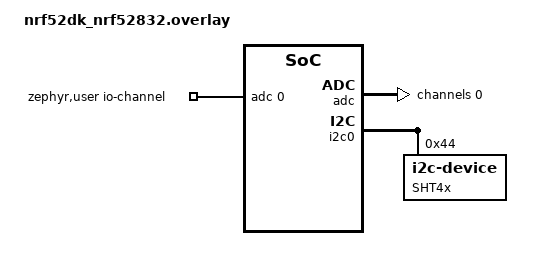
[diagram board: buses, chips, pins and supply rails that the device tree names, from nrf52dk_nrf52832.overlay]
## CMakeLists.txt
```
#
# Copyright (c) 2021 Nordic Semiconductor ASA
#
# SPDX-License-Identifier: LicenseRef-Nordic-5-Clause
#
cmake_minimum_required(VERSION 3.20.0)
find_package(Zephyr REQUIRED HINTS $ENV{ZEPHYR_BASE})
project(central_and_peripheral_hr1)

# # NORDIC SDK APP START
# target_sources(app PRIVATE
#   src/main.c
# )
# # NORDIC SDK APP END

FILE(GLOB app_sources src/*.c)
target_sources(app PRIVATE ${app_sources})
```

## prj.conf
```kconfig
#
# Copyright (c) 2018 Nordic Semiconductor
#
# SPDX-License-Identifier: LicenseRef-Nordic-5-Clause
#

# Logger module
CONFIG_LOG=y

# Button and LED library
CONFIG_DK_LIBRARY=y
CONFIG_DEBUG=y

# Bluetooth LE
CONFIG_BT=y
CONFIG_BT_PERIPHERAL=y
CONFIG_BT_PHY_UPDATE=y
CONFIG_BT_CENTRAL=y
CONFIG_BT_DEVICE_NAME="Concretex"

# For flash
CONFIG_STDOUT_CONSOLE=y
CONFIG_FLASH=y
CONFIG_FLASH_PAGE_LAYOUT=y
CONFIG_MPU_ALLOW_FLASH_WRITE=y
CONFIG_FCB=y
CONFIG_FLASH_MAP=y
CONFIG_SETTINGS=y
CONFIG_SETTINGS_FCB=y
CONFIG_SOC_FLASH_NRF_RADIO_SYNC_NONE=n

# For sensors
CONFIG_PWM=y
CONFIG_ADC=y
CONFIG_I2C=y



# Set global log level (0=none, 1=error, 2=warning, 3=info, 4=debug)
CONFIG_LOG_DEFAULT_LEVEL=2

CONFIG_CBPRINTF_FP_SUPPORT=y
CONFIG_HEAP_MEM_POOL_SIZE=2048
```

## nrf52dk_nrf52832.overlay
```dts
// To get started, press Ctrl+Space to bring up the completion menu and view the available nodes.

// You can also use the buttons in the sidebar to perform actions on nodes.
// Actions currently available include:

// * Enabling / disabling the node
// * Adding the bus to a bus
// * Removing the node
// * Connecting ADC channels

// For more help, browse the DeviceTree documentation at https://docs.zephyrproject.org/latest/guides/dts/index.html
// You can also visit the nRF DeviceTree extension documentation at https://nrfconnect.github.io/vscode-nrf-connect/devicetree/nrfdevicetree.html

// sensors
&pwm0_default {
	group1 {
		psels = <NRF_PSEL(PWM_OUT0, 0, 3)>;
		nordic,invert;
	};
};


/ {
	zephyr,user {
		io-channels = <&adc 0>;
	};
};

&adc {
	#address-cells = <1>;
	#size-cells = <0>;
	status = "okay";
	channel@0 {
		reg = <0>;
		zephyr,gain = "ADC_GAIN_1_6";
		zephyr,reference = "ADC_REF_INTERNAL";
		zephyr,acquisition-time = <ADC_ACQ_TIME_DEFAULT>;
		zephyr,input-positive = <NRF_SAADC_AIN0>; /* P0.02 for nRF52xx, P0.04 for nRF53xx */
		zephyr,resolution = <12>;
	};
};

&i2c0 {
    mysensor: mysensor@44{
        compatible = "i2c-device";
        reg = < 0x44 >;
        label = "SHT4x";
    };
};

// flash

&slot0_partition {
	label = "code";
	reg = <0xc000 0x5d000>;
};

&storage_partition {
	reg = <0x69000 0x12000>;
};
```

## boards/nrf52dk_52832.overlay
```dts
&pwm_led0 {
	pwms = <&pwm0 18>;
};

&pwm0 {
	ch0-pin = <18>;
};
```

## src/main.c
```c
#include "inc/ble.h"
#include "inc/flash.h"
#include "inc/sensors.h"
#include "inc/power.h"

int main(void) {

    init_flash();
    init_sensors();
    ble_init();

    ble_start();

    printk("Bluetooth initialized and advertising\n");

    uint8_t nul = 0;
    uint8_t buffer[BUFFER_SIZE] = {0};

    // this is just initialization
    write_entry(buffer, &nul, &nul);

    while (1) {
      struct measurements measure;

      // power_on_nrf52();
      measure = measurement_cycle();

      serialize_measurements(measure, buffer);
      write_entry(buffer, NULL, NULL);


      // power_off_nrf52();
      printk("bye  temperature is: %.1f  and voltage is:  %d mV  \n", measure.temperature, measure.mV);
      k_sleep(K_MINUTES(1));

    }
}
```

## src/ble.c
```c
#include "inc/ble.h"
#include "inc/flash.h"


static struct ble_request request;
static struct bt_conn *my_conn = NULL;


// GATT Attribute Table
BT_GATT_SERVICE_DEFINE(historical_svc,
    BT_GATT_PRIMARY_SERVICE(HISTORICAL_DATA_UUID),
    BT_GATT_CHARACTERISTIC(HISTORICAL_DATA_UUID, BT_GATT_CHRC_READ, BT_GATT_PERM_READ, read_historical_data, NULL, NULL),
    BT_GATT_CHARACTERISTIC(RANGE_UUID, BT_GATT_CHRC_WRITE, BT_GATT_PERM_WRITE, NULL, write_range, &request),
    BT_GATT_CHARACTERISTIC(CURRENT_PAGE_UUID, BT_GATT_CHRC_READ, BT_GATT_PERM_READ, read_page_data, NULL, NULL),
    BT_GATT_CHARACTERISTIC(CURRENT_LINE_UUID, BT_GATT_CHRC_READ, BT_GATT_PERM_READ, read_line_data, NULL, NULL),
);


ssize_t read_page_data(struct bt_conn *conn, const struct bt_gatt_attr *attr, void *buf, uint16_t len, uint16_t offset) {
    struct flash_pagination x = get_pages();
    uint16_t page = x.last_page_num;
    return bt_gatt_attr_read(conn, attr, buf, len, offset, &page, sizeof(page));
}


ssize_t read_line_data(struct bt_conn *conn, const struct bt_gatt_attr *attr, void *buf, uint16_t len, uint16_t offset) {
    struct flash_pagination x = get_pages();
    uint16_t line = x.last_line;
    return bt_gatt_attr_read(conn, attr, buf, len, offset, &line, sizeof(line));
}


ssize_t write_range(struct bt_conn *conn, const struct bt_gatt_attr *attr, const void *buf, uint16_t len, uint16_t offset, uint8_t flags) {
    if (offset + len > sizeof(request)) {
        return BT_GATT_ERR(BT_ATT_ERR_INVALID_OFFSET);
    }
    memcpy((uint8_t*)&request + offset, buf, len);

    return len;
}


ssize_t read_historical_data(struct bt_conn *conn, const struct bt_gatt_attr *attr, void *buf, uint16_t len, uint16_t offset) {

    uint8_t *historical_data = k_malloc(request.num_lines*8);
    if (historical_data == NULL) {
        return BT_GATT_ERR(BT_ATT_ERR_INSUFFICIENT_RESOURCES);
    }

    read_entry_many(historical_data, request.page, request.line, request.num_lines*8);

    ssize_t read_len =  bt_gatt_attr_read(conn, attr, buf, len, offset, historical_data, request.num_lines * 8 * sizeof(uint8_t));

    k_free(historical_data);

    return read_len;

}


void on_connected(struct bt_conn *conn, uint8_t err) {
    if (err) {
        printk("Connection error %d\n", err);
        return;
    }
    printk("Connected\n");
    my_conn = bt_conn_ref(conn);
}


void on_disconnected(struct bt_conn *conn, uint8_t reason) {
    printk("Disconnected. Reason %d\n", reason);
    bt_conn_unref(my_conn);
    my_conn = NULL;
}


static struct bt_conn_cb connection_callbacks = {
    .connected = on_connected,
    .disconnected = on_disconnected
};


uint8_t ble_init() {
    int err;
    bt_conn_cb_register(&connection_callbacks);

    err = bt_enable(NULL);

    if (err) {
        printk("Bluetooth init failed (err %d)\n", err);
        return -1;
    }
    return 0;
}


uint8_t ble_start() {
    int err;
    err = bt_le_adv_start(BT_LE_ADV_CONN, ad, ARRAY_SIZE(ad), sd, ARRAY_SIZE(sd));
    if (err) {
        printk("Advertising start failed (err %d)\n", err);
        return -1;
    }
    return 0;
}
```

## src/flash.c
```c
#include "inc/flash.h"

static struct flash_pagination pagination;

const struct device *flash_dev = TEST_PARTITION_DEVICE;


int init_flash() {
    if (!device_is_ready(flash_dev)) {
        printf("Flash device not ready\n");
        return -1;
    }

    if (flash_init(flash_dev) != 1) {
        printf("Flash init failed\n");
        return -1;
    }
    return 1;
}


struct flash_pagination get_pages() {
    return pagination;
}


uint8_t flash_init(const struct device *flash_dev) {
    for (int page_num = 0; page_num < FLASH_PAGE_COUNT; page_num++) {
        uint32_t offset = TEST_PARTITION_OFFSET + (page_num * FLASH_PAGE_SIZE);
        if (flash_erase(flash_dev, offset, FLASH_PAGE_SIZE) != 0) {
            printf("Flash erase failed at page %d!\n", page_num);
            continue;
        }
        printf("Flash erase succeeded at page %d!\n", page_num);
    }
    return 1;
}


uint8_t write_entry(void *buffer, uint8_t *page_num, uint8_t *line) {
    if (page_num != NULL && line != NULL) {
        pagination.last_page_num = *page_num;
        pagination.last_line = *line;
        return 1;
    }
    
    uint32_t write_offset = TEST_PARTITION_OFFSET + (pagination.last_page_num * FLASH_PAGE_SIZE) + (pagination.last_line * BUFFER_SIZE);
    if (flash_write(flash_dev, write_offset, buffer, BUFFER_SIZE) != 0) {
        printf("Flash write failed at offset 0x%X!\n", write_offset);
        return 0;
    }
    pagination.last_line++;
    if (pagination.last_line == FLASH_LINE_COUNT) {
        pagination.last_page_num++;
        pagination.last_line = 0;
        if (pagination.last_page_num == FLASH_PAGE_COUNT) {
            pagination.last_page_num = 0;
        }
    }
    return 1;
}


void read_entry(void *data, uint8_t page_num, uint8_t line) {
    __off_t offset = TEST_PARTITION_OFFSET + (page_num * FLASH_PAGE_SIZE) + ((line-1) * BUFFER_SIZE);
    if (flash_read(flash_dev, offset, data, BUFFER_SIZE) != 0) {
        printf("Failed to read flash at page %d!\n", 0);
        return 0;
    }
    return 1;
}


void read_entry_many(void *data, uint8_t page_num, uint8_t line, uint8_t num_lines) {
    __off_t offset = TEST_PARTITION_OFFSET + (page_num * FLASH_PAGE_SIZE) + ((line-1) * BUFFER_SIZE);
    if (flash_read(flash_dev, offset, data, num_lines) != 0) {
        printf("Failed to read flash at page %d!\n", 0);
        return 0;
    }
    return 1;
}
```

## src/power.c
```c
#include "inc/power.h"


void power_on_nrf52() {
    NRF_POWER->TASKS_CONSTLAT = 1; // Enable constant latency mode
    NRF_POWER->TASKS_LOWPWR = 0;   // Exit low power mode
}

void power_off_nrf52() {
    NRF_POWER->TASKS_LOWPWR = 1; // Enter low power mode
    NRF_POWER->TASKS_CONSTLAT = 0; // Disable constant latency mode
}
```

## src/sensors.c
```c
#include "inc/sensors.h"
#include "inc/flash.h"


float temp_sensor() {
    const struct device *i2c_dev = device_get_binding(dev_i2c.bus->name);
    if (!i2c_dev) {
        printk("I2C device not found\n");
    }

	uint8_t config[] = {0xFD};
	int ret = i2c_write_dt(&dev_i2c, config, sizeof(config));
	if(ret != 0){
		printk("Failed to write to I2C device address %x at reg. %x \n\r", dev_i2c.addr,config[0]);
	}

    k_sleep(K_MSEC(200)); // Wait for measurement to complete


	uint8_t rx_data[6] = {0};
    ret = i2c_read(i2c_dev, rx_data, sizeof(rx_data), dev_i2c.addr);
    if (ret != 0) {
        printk("Failed to read from I2C device address %x\n", dev_i2c.addr);
    }


    uint16_t t_ticks = (rx_data[0] * 256) + rx_data[1];
	// printk("Temperature: %d °C\n", t_ticks);
    // uint16_t rh_ticks = (rx_data[3] * 256) + rx_data[4];

    float temperature = -45.0 + (175.0 * t_ticks / 65535.0);
    // float humidity = -6.0 + (125.0 * rh_ticks / 65535.0);

	printk("Temperature: %.8f °C\n", temperature);

	return temperature;
    // printk("Humidity: %.8f %%RH\n", humidity);
}


int on_pwm()
{
	if (pwm_set_dt(&pwm_led0, (uint32_t)PWM_PERIOD_NS, (uint32_t)PWM_PERIOD_NS / 2U)) {
        printk("Error: Failed to set PWM period\n");
        return 0;
    }
	return 1;
}


int off_pwm()
{
	if (pwm_set_dt(&pwm_led0, (uint32_t)PWM_PERIOD_NS, 0)) {
        printk("Error: Failed to set PWM period\n");
        return 0;
    }
	return 1;
}


int measure_adc()
{
	int err;
	uint32_t count = 0;
	int16_t buf;
	struct adc_sequence sequence = {
		.buffer = &buf,
		.buffer_size = sizeof(buf),
	};

	if (!adc_is_ready_dt(&adc_channel)) {
		printk("ADC controller devivce %s not ready\n", adc_channel.dev->name);
		return 0;
	}

	err = adc_channel_setup_dt(&adc_channel);
	if (err < 0) {
		printk("Could not setup channel #%d (%d)\n", 0, err);
		return 0;
	}

	err = adc_sequence_init_dt(&adc_channel, &sequence);
	if (err < 0) {
		printk("Could not initalize sequnce\n");
		return 0;
	}

	int val_mv;
	err = adc_read(adc_channel.dev, &sequence);
	if (err < 0) {
		printk("Could not read (%d) \n", err);
	}

	val_mv = (int)buf;
	printk("ADC reading[%u]: %s, channel %d: Raw: %d \n", count++, adc_channel.dev->name,
		adc_channel.channel_id, val_mv);

	err = adc_raw_to_millivolts_dt(&adc_channel, &val_mv);
	if (err < 0) {
		printk(" (value in mV not available)\n");
	} else {
		printk(" = %d mV \n", val_mv);
	}

	return val_mv;
}


struct measurements measurement_cycle()
{
	struct measurements measurements;

	on_pwm();
	k_sleep(K_MSEC(5));
	measurements.mV = measure_adc();
	off_pwm();
	k_sleep(K_MSEC(5));
	measurements.temperature = temp_sensor();
	return measurements;
}



int init_sensors() {
	if (!pwm_is_ready_dt(&pwm_led0)) {
		printk("Error: PWM device %s is not ready\n", pwm_led0.dev->name);
		return 0;
	}

	if (!adc_is_ready_dt(&adc_channel)) {
		printk("ADC controller devivce %s not ready\n", adc_channel.dev->name);
		return 0;
	}
	return 1;
}



void serialize_measurements(struct measurements data, uint8_t *buffer) {
    uint16_t temp = (uint16_t)(data.temperature * 1000);
    uint16_t mV = (uint16_t)(data.mV);

    // Place the bytes of temp into the buffer
    buffer[0] = (uint8_t)(temp & 0xFF);        // Lower 8 bits of temp
    buffer[1] = (uint8_t)((temp >> 8) & 0xFF); // Upper 8 bits of temp

    // Place the bytes of mV into the buffer
    buffer[2] = (uint8_t)(mV & 0xFF);          // Lower 8 bits of mV
    buffer[3] = (uint8_t)((mV >> 8) & 0xFF);   // Upper 8 bits of mV
}
```
